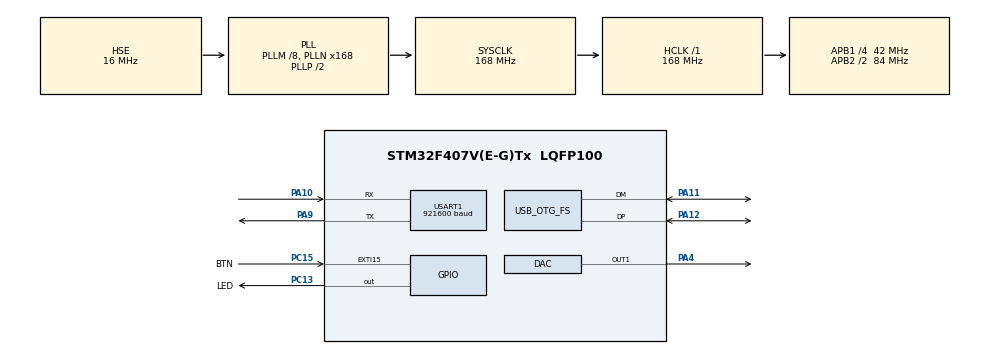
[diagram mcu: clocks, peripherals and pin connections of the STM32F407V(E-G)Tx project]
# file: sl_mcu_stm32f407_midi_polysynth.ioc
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DAC.DAC_Trigger=DAC_TRIGGER_T6_TRGO
Dma.DAC1.0.Direction=DMA_MEMORY_TO_PERIPH
Dma.DAC1.0.FIFOMode=DMA_FIFOMODE_DISABLE
Dma.DAC1.0.Instance=DMA1_Stream5
Dma.DAC1.0.MemDataAlignment=DMA_MDATAALIGN_HALFWORD
Dma.DAC1.0.MemInc=DMA_MINC_ENABLE
Dma.DAC1.0.Mode=DMA_CIRCULAR
Dma.DAC1.0.PeriphDataAlignment=DMA_PDATAALIGN_HALFWORD
Dma.DAC1.0.PeriphInc=DMA_PINC_DISABLE
Dma.DAC1.0.Priority=DMA_PRIORITY_LOW
Dma.Request0=DAC1
Mcu.Family=STM32F4
Mcu.Name=STM32F407V(E-G)Tx
Mcu.Package=LQFP100
NVIC.DMA1_Stream5_IRQn=true\:0\:0\:false\:false\:true\:false\:true\:true
NVIC.EXTI15_10_IRQn=true\:0\:0\:false\:false\:true\:true\:true\:true
NVIC.OTG_FS_IRQn=true\:0\:0\:false\:false\:true\:true\:true\:true
NVIC.PriorityGroup=NVIC_PRIORITYGROUP_4
PA10.Mode=Asynchronous
PA10.Signal=USART1_RX
PA11.Mode=Device_Only
PA11.Signal=USB_OTG_FS_DM
PA12.Mode=Device_Only
PA12.Signal=USB_OTG_FS_DP
PA13.Mode=Trace_Asynchronous_SW
PA13.Signal=SYS_JTMS-SWDIO
PA14.Mode=Trace_Asynchronous_SW
PA14.Signal=SYS_JTCK-SWCLK
PA4.Signal=COMP_DAC1_group
PA9.Mode=Asynchronous
PA9.Signal=USART1_TX
PB3.Mode=Trace_Asynchronous_SW
PB3.Signal=SYS_JTDO-SWO
PC13-ANTI_TAMP.GPIO_Label=LED
PC13-ANTI_TAMP.GPIO_ModeDefaultOutputPP=GPIO_MODE_OUTPUT_OD
PC13-ANTI_TAMP.GPIO_PuPd=GPIO_NOPULL
PC13-ANTI_TAMP.PinState=GPIO_PIN_SET
PC13-ANTI_TAMP.Signal=GPIO_Output
PC15-OSC32_OUT.GPIO_Label=BTN
PC15-OSC32_OUT.GPIO_ModeDefaultEXTI=GPIO_MODE_IT_FALLING
PC15-OSC32_OUT.Signal=GPXTI15
PH0-OSC_IN.Mode=HSE-External-Oscillator
PH0-OSC_IN.Signal=RCC_OSC_IN
PH1-OSC_OUT.Mode=HSE-External-Oscillator
PH1-OSC_OUT.Signal=RCC_OSC_OUT
ProjectManager.HeapSize=0x200
ProjectManager.StackSize=0x400
ProjectManager.TargetToolchain=STM32CubeIDE
RCC.48MHZClocksFreq_Value=48000000
RCC.AHBFreq_Value=168000000
RCC.APB1CLKDivider=RCC_HCLK_DIV4
RCC.APB1Freq_Value=42000000
RCC.APB1TimFreq_Value=84000000
RCC.APB2CLKDivider=RCC_HCLK_DIV2
RCC.APB2Freq_Value=84000000
RCC.APB2TimFreq_Value=168000000
RCC.CortexFreq_Value=168000000
RCC.HCLKFreq_Value=168000000
RCC.HSE_VALUE=16000000
RCC.HSI_VALUE=16000000
RCC.LSE_VALUE=32768
RCC.PLLM=8
RCC.PLLN=168
RCC.PLLQ=7
RCC.SYSCLKFreq_VALUE=168000000
RCC.SYSCLKSource=RCC_SYSCLKSOURCE_PLLCLK
RCC.VCOOutputFreq_Value=336000000
SH.COMP_DAC1_group.0=DAC_OUT1,DAC_OUT1
TIM6.Period=50- 1
TIM6.Prescaler=35 - 1
TIM6.TIM_MasterOutputTrigger=TIM_TRGO_UPDATE
USART1.BaudRate=921600
USART1.VirtualMode=VM_ASYNC
USB_OTG_FS.VirtualMode=Device_Only
VP_TIM6_VS_ClockSourceINT.Mode=Enable_Timer
board=custom

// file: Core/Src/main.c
/* USER CODE BEGIN Header */
/**
 ******************************************************************************
 * @file           : main.c
 * @brief          : Main program body
 ******************************************************************************
 * @attention
 *
 * USB MIDI Polyphonic Synthesizer
 *
 * Copyright (c) 2026 STM32World <lth@stm32world.com>
 * All rights reserved.
 *
 * This software is licensed under terms that can be found in the LICENSE file
 * in the root directory of this software component.
 * If no LICENSE file comes with this software, it is provided AS-IS.
 *
 ******************************************************************************
 */
/* USER CODE END Header */
#include "main.h"

/* USER CODE BEGIN Includes */
#include <stdio.h>
#include <math.h>
#include <arm_math.h>
#include "tusb.h"
/* USER CODE END Includes */

/* USER CODE BEGIN PTD */

enum wave_t {
    SINE_WAVE = 0,
    SAW_RIGHT_WAVE = 1,
    SAW_LEFT_WAVE = 2,
    TRIANGLE_WAVE = 3,
    SQUARE_WAVE = 4
};

typedef enum {
    ENVELOPE_IDLE = 0,
    ENVELOPE_ATTACK,
    ENVELOPE_DECAY,
    ENVELOPE_SUSTAIN,
    ENVELOPE_RELEASE
} env_stage_t;

typedef struct {
    float attack_rate;   // Gain increase per sample
    float decay_rate;    // Gain decrease per sample
    float sustain_level; // Target level [0.0f - 1.0f]
    float release_rate;  // Gain decrease per sample
} adsr_config_t;

typedef struct {
    uint8_t active;
    uint8_t note;
    float velocity_gain;
    enum wave_t wave_type;
    float angle;
    float angle_change;

    // ADSR State Data
    env_stage_t env_stage;
    float env_level;
} synth_voice_t;

/* USER CODE END PTD */

/* USER CODE BEGIN PD */

#define DMA_BUFFER_SIZE 16
#define SAMPLE_FREQ 48000
#define OUTPUT_MID 2048
#define OUTPUT_MAX 4096

#define MAX_VOICES 10

//#define TOTAL_CALCULATIONS 500000

/* USER CODE END PD */

DAC_HandleTypeDef hdac;
DMA_HandleTypeDef hdma_dac1;

TIM_HandleTypeDef htim6;

UART_HandleTypeDef huart1;

PCD_HandleTypeDef hpcd_USB_OTG_FS;

/* USER CODE BEGIN PV */

static const float MIDI_NOTE_TO_FREQ[128] = {
        8.1758f, 8.6620f, 9.1770f, 9.7227f, 10.3009f, 10.9134f, 11.5623f, 12.2499f,   // 0 - 7
        12.9783f, 13.7500f, 14.5676f, 15.4339f, 16.3516f, 17.3239f, 18.3540f, 19.4454f,   // 8 - 15
        20.6017f, 21.8268f, 23.1247f, 24.4997f, 25.9565f, 27.5000f, 29.1352f, 30.8677f,   // 16 - 23
        32.7032f, 34.6478f, 36.7081f, 38.8909f, 41.2034f, 43.6535f, 46.2493f, 48.9994f,   // 24 - 31
        51.9131f, 55.0000f, 58.2705f, 61.7354f, 65.4064f, 69.2957f, 73.4162f, 77.7817f,   // 32 - 39
        82.4069f, 87.3071f, 92.4986f, 97.9989f, 103.8262f, 110.0000f, 116.5409f, 123.4708f,  // 40 - 47
        130.8128f, 138.5913f, 146.8324f, 155.5635f, 164.8138f, 174.6141f, 185.0000f, 195.9977f,  // 48 - 55
        207.6523f, 220.0000f, 233.0819f, 246.9417f, 261.6256f, 277.1826f, 293.6648f, 311.1270f,  // 56 - 63
        329.6276f, 349.2282f, 369.9944f, 391.9954f, 415.3047f, 440.0000f, 466.1638f, 493.8833f,  // 64 - 71
        523.2511f, 554.3653f, 587.3295f, 622.2540f, 659.2551f, 698.4565f, 739.9888f, 783.9909f,  // 72 - 79
        830.6094f, 880.0000f, 932.3275f, 987.7666f, 1046.5023f, 1108.7305f, 1174.6591f, 1244.5079f, // 80 - 87
        1318.5102f, 1396.9129f, 1479.9777f, 1567.9817f, 1661.2188f, 1760.0000f, 1864.6550f, 1975.5332f, // 88 - 95
        2093.0045f, 2217.4610f, 2349.3181f, 2489.0159f, 2637.0205f, 2793.8259f, 2959.9554f, 3135.9635f, // 96 - 103
        3322.4376f, 3520.0000f, 3729.3101f, 3951.0664f, 4186.0090f, 4434.9221f, 4698.6363f, 4978.0317f, // 104 - 111
        5274.0410f, 5587.6518f, 5919.9108f, 6271.9270f, 6644.8752f, 7040.0000f, 7458.6202f, 7902.1328f, // 112 - 119
        8372.0181f, 8869.8443f, 9397.2726f, 9956.0635f, 10548.0820f, 11175.3037f, 11839.8216f, 12543.8540f // 120 - 127
        };

uint16_t dma_buffer[2 * DMA_BUFFER_SIZE];

synth_voice_t voices[MAX_VOICES] = { 0 };
enum wave_t global_wave_type = SINE_WAVE;

// ADSR profile: Attack 15ms, Decay 80ms, Sustain 70%, Release 120ms
adsr_config_t global_adsr = {
        .attack_rate = 1.0f / (0.015f * SAMPLE_FREQ),
        .decay_rate = (1.0f - 0.7f) / (0.080f * SAMPLE_FREQ),
        .sustain_level = 0.7f,
        .release_rate = 0.7f / (0.120f * SAMPLE_FREQ)
};

// Single-Pole IIR Low-Pass Filter state
static float lpf_state = 0.0f;
static float lpf_alpha = 0.25f; // Alpha scale [0.0 - 1.0]: Lower values = warmer/darker, higher = brighter

static float global_master_volume = 0.6f; // Default 80% volume (range: 0.0f to 1.0f)

// Helper function to update low-pass filter cutoff frequency in Hz dynamically
void synth_set_cutoff(float cutoff_hz) {
    if (cutoff_hz > (SAMPLE_FREQ / 2.0f))
        cutoff_hz = SAMPLE_FREQ / 2.0f;
    float dt = 1.0f / (float) SAMPLE_FREQ;
    float rc = 1.0f / (2.0f * (float) M_PI * cutoff_hz);
    lpf_alpha = dt / (rc + dt);
}

uint8_t change_wave = 0;

/* USER CODE END PV */

void SystemClock_Config(void);
static void MX_GPIO_Init(void);
static void MX_DMA_Init(void);
static void MX_DAC_Init(void);
static void MX_USART1_UART_Init(void);
static void MX_TIM6_Init(void);
static void MX_USB_OTG_FS_PCD_Init(void);

/* USER CODE BEGIN 0 */

// Send printf to uart1
int __io_putchar(int ch) {
    if (ch == '\n') {
        HAL_UART_Transmit(&huart1, (uint8_t*) "\r", 1, HAL_MAX_DELAY);
    }
    if (HAL_UART_Transmit(&huart1, (uint8_t*) &ch, 1, HAL_MAX_DELAY) != HAL_OK) {
        return -1;
    }
    return ch;
}

void process_buffer(uint16_t *out_buffer) {
    float mix_buffer[DMA_BUFFER_SIZE] = { 0.0f };
    const float inv_two_pi = 1.0f / (2.0f * (float) M_PI);
    uint8_t active_count = 0;

    for (int v = 0; v < MAX_VOICES; v++) {
        synth_voice_t *voice = &voices[v];

        if (!voice->active)
            continue;

        active_count++;

        for (int i = 0; i < DMA_BUFFER_SIZE; i++) {
            // ADSR state update
            switch (voice->env_stage) {
            case ENVELOPE_ATTACK:
                voice->env_level += global_adsr.attack_rate;
                if (voice->env_level >= 1.0f) {
                    voice->env_level = 1.0f;
                    voice->env_stage = ENVELOPE_DECAY;
                }
                break;

            case ENVELOPE_DECAY:
                voice->env_level -= global_adsr.decay_rate;
                if (voice->env_level <= global_adsr.sustain_level) {
                    voice->env_level = global_adsr.sustain_level;
                    voice->env_stage = ENVELOPE_SUSTAIN;
                }
                break;

            case ENVELOPE_SUSTAIN:
                voice->env_level = global_adsr.sustain_level;
                break;

            case ENVELOPE_RELEASE:
                voice->env_level -= global_adsr.release_rate;
                if (voice->env_level <= 0.001f) {
                    voice->env_level = 0.0f;
                    voice->env_stage = ENVELOPE_IDLE;
                    voice->active = 0;
                }
                break;

            default:
                break;
            }

            if (!voice->active)
                break;

            // Waveform core generator
            float sample = 0.0f;
            switch (voice->wave_type) {
            case SINE_WAVE:
                sample = arm_cos_f32(voice->angle);
                break;

            case SAW_RIGHT_WAVE: {
                float phase = voice->angle * inv_two_pi;
                sample = (2.0f * phase) - 1.0f;
                break;
            }

            case SAW_LEFT_WAVE: {
                float phase = voice->angle * inv_two_pi;
                sample = 1.0f - (2.0f * phase);
                break;
            }

            case TRIANGLE_WAVE: {
                float phase = voice->angle * inv_two_pi;
                sample = (phase < 0.5f) ? (4.0f * phase - 1.0f) : (3.0f - 4.0f * phase);
                break;
            }

            case SQUARE_WAVE: {
                float phase = voice->angle * inv_two_pi;
                sample = (phase < 0.5f) ? 1.0f : -1.0f;
                break;
            }
            }

            mix_buffer[i] += sample * voice->velocity_gain * voice->env_level;

            voice->angle += voice->angle_change;
            if (voice->angle >= (2.0f * (float) M_PI)) {
                voice->angle -= (2.0f * (float) M_PI);
            }
        }
    }

    float master_gain = (active_count > 0) ? (1.0f / sqrtf((float) active_count)) * 2000.0f * global_master_volume : 0.0f;

    for (int i = 0; i < DMA_BUFFER_SIZE; i++) {
        if (active_count == 0) {
            // Decay LPF state to zero cleanly when silent
            lpf_state = 0.0f;
            out_buffer[i] = OUTPUT_MID;
        } else {
            float raw_val = mix_buffer[i] * master_gain;

            // Apply Single-Pole Low-Pass Filter: y[n] = y[n-1] + alpha * (x[n] - y[n-1])
            lpf_state += lpf_alpha * (raw_val - lpf_state);

            float val = OUTPUT_MID + lpf_state;

            // Hard limiting
            if (val > (OUTPUT_MAX - 1))
                val = (OUTPUT_MAX - 1);
            if (val < 0.0f)
                val = 0.0f;

            out_buffer[i] = (uint16_t) val;
        }
    }
}

void HAL_DAC_ConvHalfCpltCallbackCh1(DAC_HandleTypeDef *hdac) {
    process_buffer(&dma_buffer[0]);
}

void HAL_DAC_ConvCpltCallbackCh1(DAC_HandleTypeDef *hdac) {
    process_buffer(&dma_buffer[DMA_BUFFER_SIZE]);
}

void HAL_GPIO_EXTI_Callback(uint16_t GPIO_Pin) {
    if (GPIO_Pin == BTN_Pin) { // If the button
        change_wave = 1;
    }
}

void synth_note_off(uint8_t note) {
    for (int i = 0; i < MAX_VOICES; i++) {
        if (voices[i].active && voices[i].note == note && voices[i].env_stage != ENVELOPE_RELEASE) {
            // Trigger release phase instead of turning off immediately
            voices[i].env_stage = ENVELOPE_RELEASE;
        }
    }
}

void synth_all_notes_off(void) {
    for (int i = 0; i < MAX_VOICES; i++) {
        if (voices[i].active) {
            voices[i].env_stage = ENVELOPE_RELEASE;
        }
    }
}

void synth_note_on(uint8_t note, uint8_t velocity) {
    if (note > 127 || velocity == 0) {
        synth_note_off(note);
        return;
    }

    int slot = -1;

    // If note is playing, reuse slot
    for (int i = 0; i < MAX_VOICES; i++) {
        if (voices[i].active && voices[i].note == note) {
            slot = i;
            break;
        }
    }

    // Find empty slot
    if (slot == -1) {
        for (int i = 0; i < MAX_VOICES; i++) {
            if (!voices[i].active) {
                slot = i;
                break;
            }
        }
    }

    // Fallback: simple voice stealing slot 0
    if (slot == -1) {
        slot = 0;
    }

    voices[slot].note = note;
    voices[slot].velocity_gain = (float) velocity / 127.0f;
    voices[slot].angle_change = MIDI_NOTE_TO_FREQ[note] * (2.0f * (float) M_PI / SAMPLE_FREQ);
    voices[slot].wave_type = global_wave_type;
    voices[slot].env_stage = ENVELOPE_ATTACK;
    voices[slot].active = 1;
}

// TinyUSB callback when receiving midi message
void tud_midi_rx_cb(uint8_t itf)
{
    (void) itf;
    uint8_t packet[4];

    while (tud_midi_packet_read(packet))
    {
        uint8_t cable = packet[0] >> 4;
        uint8_t cin = packet[0] & 0x0F;
        uint8_t status = packet[1];
        uint8_t data1 = packet[2]; // MIDI Note
        uint8_t data2 = packet[3]; // Velocity

        uint8_t channel = (status & 0x0F) + 1;
        uint8_t msg_type = status & 0xF0;

        //printf("RAW Packet: [%02X %02X %02X %02X] | Cable: %d | CIN: 0x%X\r\n",
        //        packet[0], packet[1], packet[2], packet[3], cable, cin);

        switch (msg_type) {
        case 0x90: // Note On
            if (data2 > 0) {
                printf("ON  | %d, Velocity: %d\n", data1, data2);
                synth_note_on(data1, data2);
            } else {
                printf("OFF | %d (Vel 0)\n", data1);
                synth_note_off(data1);
            }
            break;

        case 0x80: // Note Off
            printf("OFF | %d, Velocity: %d\n", data1, data2);
            synth_note_off(data1);
            break;

        case 0xB0: // Control Change (e.g. All Notes Off / Controller 123)
            printf("CC       | Controller: %d, Value: %d\n", data1, data2);
            if (data1 == 123 || data1 == 120) {
                synth_all_notes_off();
            }
            break;

        default:
            break;
        }
    }
}

/* USER CODE END 0 */

int main(void)
{

    /* MCU Configuration--------------------------------------------------------*/

    /* Reset of all peripherals, Initializes the Flash interface and the Systick. */
    HAL_Init();

    /* Configure the system clock */
    SystemClock_Config();

    /* Initialize all configured peripherals */
    MX_GPIO_Init();
    MX_DMA_Init();
    MX_DAC_Init();
    MX_USART1_UART_Init();
    MX_TIM6_Init();
    MX_USB_OTG_FS_PCD_Init();
    /* USER CODE BEGIN 2 */

    printf("\n\n\nStarting Polyphonic Synthesizer\n");

    HAL_TIM_Base_Start_IT(&htim6);

    HAL_DAC_Start_DMA(&hdac, DAC_CHANNEL_1, (uint32_t*) &dma_buffer, 2 * DMA_BUFFER_SIZE, DAC_ALIGN_12B_R);

    // Initialize the TinyUSB Device stack
    tusb_init();

//    // Run comparison test on Core 1 using CMSIS-DSP arm_cos_f32() function
//
//    float radians = 0.0f;
//    const float step = 0.01f;
//
//    // Use volatile to force GCC to execute every iteration
//    volatile float dummy_val = 0.0f;
//
//    radians = 0.0f;
//    uint32_t start_ms = uwTick;
//    for (uint32_t i = 0; i < (10 * TOTAL_CALCULATIONS); i++) {
//        dummy_val = cosf(radians);
//
//        radians += step;
//        if (radians >= 6.28318530718f)
//            radians = 0.0f;
//    }
//    uint32_t std_ms = (uint32_t) (uwTick - start_ms);
//
//    start_ms = uwTick;
//    radians = 0.0f;
//    for (uint32_t i = 0; i < (10 * TOTAL_CALCULATIONS); i++) {
//        dummy_val = arm_cos_f32(radians);
//        radians += step;
//        if (radians >= 6.28318530718f)
//            radians = 0.0f;
//    }
//    uint32_t cmsis_ms = (uint32_t) (uwTick - start_ms);
//
//    printf("Startup std cosf : %lu ms\n", std_ms);
//    printf("Startup CMSIS-DSP: %lu ms\n", cmsis_ms);

    /* USER CODE END 2 */

    /* Infinite loop */
    /* USER CODE BEGIN WHILE */

    uint32_t now = 0;
    uint32_t loop_cnt = 0;
    uint32_t next_blink = 500;
    uint32_t next_tick = 1000;
    uint32_t next_demo_step = 1000;
    uint8_t demo_step = 0;

    // C Major scale frequencies for demo sequence (MIDI notes: C4, E4, G4, B4)
    const uint8_t chord_notes[] = { 60, 64, 67, 71 };
    const uint8_t full_10_notes[10] = { 48, 52, 55, 60, 64, 67, 71, 74, 76, 79 }; // C3 to G5

    // Initialize cutoff filter to ~1.2kHz for warm tone
    synth_set_cutoff(1200.0f);

    while (1) {

        now = uwTick;

        // Button waveform selector
        if (change_wave) {
            global_wave_type = (enum wave_t) ((global_wave_type + 1) % 5);
            printf("Waveform Changed -> %d\n", global_wave_type);
            change_wave = 0;
        }

        if (now >= next_blink) {
            HAL_GPIO_TogglePin(LED_GPIO_Port, LED_Pin);
            next_blink = now + 500;
        }

        if (now >= next_tick) {
            printf("Tick %lu (loop=%lu)\n", now / 1000, loop_cnt);
            loop_cnt = 0;
            next_tick = now + 1000;
        }

//        // Expanded Polyphonic Sequencer (Runs step updates every 700ms)
//        if (now >= next_demo_step) {
//            next_demo_step = now + 1000;
//
//            switch (demo_step) {
//            // Steps 0-3: Arpeggio Single Notes
//            case 0:
//                case 1:
//                case 2:
//                case 3:
//                synth_all_notes_off();
//                synth_note_on(chord_notes[demo_step], 100);
//                printf("Demo: Single Note %d\n", chord_notes[demo_step]);
//                break;
//
//                // Step 4: 3-Voice Triad
//            case 4:
//                synth_all_notes_off();
//                synth_note_on(chord_notes[0], 90);
//                synth_note_on(chord_notes[1], 90);
//                synth_note_on(chord_notes[2], 90);
//                printf("Demo: 3-Voice Triad\n");
//                break;
//
//                // Step 5: 4-Voice Maj7
//            case 5:
//                synth_note_on(chord_notes[3], 90);
//                printf("Demo: 4-Voice Maj7\n");
//                break;
//
//                // Step 6: Trigger ALL 10 VOICES simultaneously!
//            case 6:
//                synth_all_notes_off();
//                for (int n = 0; n < 10; n++) {
//                    synth_note_on(full_10_notes[n], 80);
//                }
//                printf("Demo: MAXIMUM POLYPHONY (10 Active Voices)\n");
//                break;
//
//                // Step 7: Release phase
//            case 7:
//                synth_all_notes_off();
//                printf("Demo: Release All\n");
//                break;
//
//            default:
//                break;
//            }
//
//            demo_step = (demo_step + 1) % 8;
//        }

        tud_task();

        ++loop_cnt;

        /* USER CODE END WHILE */

    }
}

void SystemClock_Config(void)
{
    RCC_OscInitTypeDef RCC_OscInitStruct = { 0 };
    RCC_ClkInitTypeDef RCC_ClkInitStruct = { 0 };

    /** Configure the main internal regulator output voltage
     */
    __HAL_RCC_PWR_CLK_ENABLE();
    __HAL_PWR_VOLTAGESCALING_CONFIG(PWR_REGULATOR_VOLTAGE_SCALE1);

    /** Initializes the RCC Oscillators according to the specified parameters
     * in the RCC_OscInitTypeDef structure.
     */
    RCC_OscInitStruct.OscillatorType = RCC_OSCILLATORTYPE_HSE;
    RCC_OscInitStruct.HSEState = RCC_HSE_ON;
    RCC_OscInitStruct.PLL.PLLState = RCC_PLL_ON;
    RCC_OscInitStruct.PLL.PLLSource = RCC_PLLSOURCE_HSE;
    RCC_OscInitStruct.PLL.PLLM = 8;
    RCC_OscInitStruct.PLL.PLLN = 168;
    RCC_OscInitStruct.PLL.PLLP = RCC_PLLP_DIV2;
    RCC_OscInitStruct.PLL.PLLQ = 7;
    if (HAL_RCC_OscConfig(&RCC_OscInitStruct) != HAL_OK)
            {
        Error_Handler();
    }

    /** Initializes the CPU, AHB and APB buses clocks
     */
    RCC_ClkInitStruct.ClockType = RCC_CLOCKTYPE_HCLK | RCC_CLOCKTYPE_SYSCLK
            | RCC_CLOCKTYPE_PCLK1 | RCC_CLOCKTYPE_PCLK2;
    RCC_ClkInitStruct.SYSCLKSource = RCC_SYSCLKSOURCE_PLLCLK;
    RCC_ClkInitStruct.AHBCLKDivider = RCC_SYSCLK_DIV1;
    RCC_ClkInitStruct.APB1CLKDivider = RCC_HCLK_DIV4;
    RCC_ClkInitStruct.APB2CLKDivider = RCC_HCLK_DIV2;

    if (HAL_RCC_ClockConfig(&RCC_ClkInitStruct, FLASH_LATENCY_5) != HAL_OK)
            {
        Error_Handler();
    }
}

static void MX_DAC_Init(void)
{

    DAC_ChannelConfTypeDef sConfig = { 0 };

    /** DAC Initialization
     */
    hdac.Instance = DAC;
    if (HAL_DAC_Init(&hdac) != HAL_OK)
            {
        Error_Handler();
    }

    /** DAC channel OUT1 config
     */
    sConfig.DAC_Trigger = DAC_TRIGGER_T6_TRGO;
    sConfig.DAC_OutputBuffer = DAC_OUTPUTBUFFER_ENABLE;
    if (HAL_DAC_ConfigChannel(&hdac, &sConfig, DAC_CHANNEL_1) != HAL_OK)
            {
        Error_Handler();
    }

}

static void MX_TIM6_Init(void)
{

    TIM_MasterConfigTypeDef sMasterConfig = { 0 };

    htim6.Instance = TIM6;
    htim6.Init.Prescaler = 35 - 1;
    htim6.Init.CounterMode = TIM_COUNTERMODE_UP;
    htim6.Init.Period = 50 - 1;
    htim6.Init.AutoReloadPreload = TIM_AUTORELOAD_PRELOAD_DISABLE;
    if (HAL_TIM_Base_Init(&htim6) != HAL_OK)
            {
        Error_Handler();
    }
    sMasterConfig.MasterOutputTrigger = TIM_TRGO_UPDATE;
    sMasterConfig.MasterSlaveMode = TIM_MASTERSLAVEMODE_DISABLE;
    if (HAL_TIMEx_MasterConfigSynchronization(&htim6, &sMasterConfig) != HAL_OK)
            {
        Error_Handler();
    }

}

static void MX_USART1_UART_Init(void)
{

    huart1.Instance = USART1;
    huart1.Init.BaudRate = 921600;
    huart1.Init.WordLength = UART_WORDLENGTH_8B;
    huart1.Init.StopBits = UART_STOPBITS_1;
    huart1.Init.Parity = UART_PARITY_NONE;
    huart1.Init.Mode = UART_MODE_TX_RX;
    huart1.Init.HwFlowCtl = UART_HWCONTROL_NONE;
    huart1.Init.OverSampling = UART_OVERSAMPLING_16;
    if (HAL_UART_Init(&huart1) != HAL_OK)
            {
        Error_Handler();
    }

}

static void MX_USB_OTG_FS_PCD_Init(void)
{

    hpcd_USB_OTG_FS.Instance = USB_OTG_FS;
    hpcd_USB_OTG_FS.Init.dev_endpoints = 4;
    hpcd_USB_OTG_FS.Init.speed = PCD_SPEED_FULL;
    hpcd_USB_OTG_FS.Init.dma_enable = DISABLE;
    hpcd_USB_OTG_FS.Init.phy_itface = PCD_PHY_EMBEDDED;
    hpcd_USB_OTG_FS.Init.Sof_enable = DISABLE;
    hpcd_USB_OTG_FS.Init.low_power_enable = DISABLE;
    hpcd_USB_OTG_FS.Init.lpm_enable = DISABLE;
    hpcd_USB_OTG_FS.Init.vbus_sensing_enable = DISABLE;
    hpcd_USB_OTG_FS.Init.use_dedicated_ep1 = DISABLE;
    if (HAL_PCD_Init(&hpcd_USB_OTG_FS) != HAL_OK)
            {
        Error_Handler();
    }

}

static void MX_DMA_Init(void)
{

    /* DMA controller clock enable */
    __HAL_RCC_DMA1_CLK_ENABLE();

    /* DMA interrupt init */
    /* DMA1_Stream5_IRQn interrupt configuration */
    HAL_NVIC_SetPriority(DMA1_Stream5_IRQn, 0, 0);
    HAL_NVIC_EnableIRQ(DMA1_Stream5_IRQn);

}

static void MX_GPIO_Init(void)
{
    GPIO_InitTypeDef GPIO_InitStruct = { 0 };

    /* GPIO Ports Clock Enable */
    __HAL_RCC_GPIOC_CLK_ENABLE();
    __HAL_RCC_GPIOH_CLK_ENABLE();
    __HAL_RCC_GPIOA_CLK_ENABLE();
    __HAL_RCC_GPIOB_CLK_ENABLE();

    /*Configure GPIO pin Output Level */
    HAL_GPIO_WritePin(LED_GPIO_Port, LED_Pin, GPIO_PIN_SET);

    /*Configure GPIO pin : LED_Pin */
    GPIO_InitStruct.Pin = LED_Pin;
    GPIO_InitStruct.Mode = GPIO_MODE_OUTPUT_OD;
    GPIO_InitStruct.Pull = GPIO_NOPULL;
    GPIO_InitStruct.Speed = GPIO_SPEED_FREQ_LOW;
    HAL_GPIO_Init(LED_GPIO_Port, &GPIO_InitStruct);

    /*Configure GPIO pin : BTN_Pin */
    GPIO_InitStruct.Pin = BTN_Pin;
    GPIO_InitStruct.Mode = GPIO_MODE_IT_FALLING;
    GPIO_InitStruct.Pull = GPIO_NOPULL;
    HAL_GPIO_Init(BTN_GPIO_Port, &GPIO_InitStruct);

    /* EXTI interrupt init*/
    HAL_NVIC_SetPriority(EXTI15_10_IRQn, 0, 0);
    HAL_NVIC_EnableIRQ(EXTI15_10_IRQn);

}

void Error_Handler(void)
{
    __disable_irq();
    while (1)
    {
    }
}
